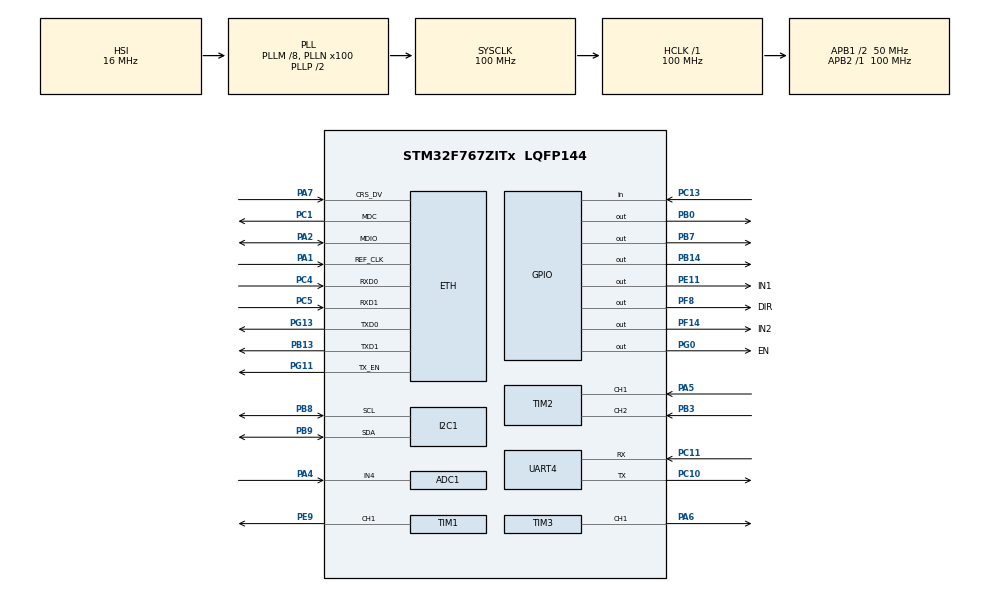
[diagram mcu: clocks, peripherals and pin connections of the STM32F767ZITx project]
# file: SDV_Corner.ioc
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ADC1.Channel-0\#ChannelRegularConversion=ADC_CHANNEL_4
ADC1.NbrOfConversionFlag=1
ADC1.Rank-0\#ChannelRegularConversion=1
ADC1.SamplingTime-0\#ChannelRegularConversion=ADC_SAMPLETIME_3CYCLES
ADC1.master=1
CORTEX_M7.CPU_DCache=Disabled
CORTEX_M7.CPU_ICache=Disabled
CORTEX_M7.MPU_Control=__NULL
CORTEX_M7.PREFETCH_ENABLE=0
CORTEX_M7.default_mode_Activation=0
ETH.MediaInterface=HAL_ETH_RMII_MODE
FREERTOS.Tasks01=COM,0,256,COM_init,Default,NULL,Dynamic,NULL,NULL;motor,2,256,motor_init,Default,NULL,Dynamic,NULL,NULL;steering,2,256,steering_init,Default,NULL,Dynamic,NULL,NULL;setPointTask,1,256,setPointTask_init,Default,NULL,Dynamic,NULL,NULL;GPIO,-1,128,GPIO_init,Default,NULL,Dynamic,NULL,NULL;TractionControl,2,256,TCS_init,Default,NULL,Dynamic,NULL,NULL;dataLogger,-2,128,dataLogger_init,Default,NULL,Dynamic,NULL,NULL
FREERTOS.configTOTAL_HEAP_SIZE=40000
FREERTOS.configUSE_NEWLIB_REENTRANT=1
I2C1.Timing=0x00C0EAFF
LWIP.BSP.number=1
LWIP.CMSIS_VERSION-Enabled=1
LWIP.DEFAULT_TCP_RECVMBOX_SIZE=64
LWIP.DEFAULT_UDP_RECVMBOX_SIZE=64
LWIP.GATEWAY_ADDRESS=000.000.000.000
LWIP.IP_ADDRESS=010.252.062.051
LWIP.LWIP_DHCP=0
LWIP.LWIP_SO_RCVTIMEO=1
LWIP.MEMP_NUM_NETBUF=16
LWIP.MEMP_NUM_PBUF=64
LWIP.MEM_SIZE=30*1024
LWIP.NETMASK_ADDRESS=255.255.255.000
LWIP.PBUF_POOL_BUFSIZE=1524
LWIP.PBUF_POOL_SIZE=64
LWIP.TCPIP_MBOX_SIZE=64
LWIP.Version=v2.1.2_Cube
LWIP0.BSP.STBoard=false
LWIP0.BSP.api=BSP_COMPONENT_DRIVER
LWIP0.BSP.component=LAN8742
LWIP0.BSP.instance=LAN8742
LWIP0.BSP.name=Driver_PHY
LWIP0.BSP.semaphore=S_LAN8742
LWIP0.BSP.solution=LAN8742
Mcu.Family=STM32F7
Mcu.Name=STM32F767ZITx
Mcu.Package=LQFP144
NVIC.ETH_IRQn=true\:5\:0\:false\:false\:true\:true\:true\:true\:true
NVIC.PriorityGroup=NVIC_PRIORITYGROUP_4
NVIC.TIM3_IRQn=true\:5\:0\:false\:false\:true\:true\:true\:true\:true
NVIC.TIM6_DAC_IRQn=true\:15\:0\:false\:false\:true\:false\:false\:true\:true
NVIC.TimeBase=TIM6_DAC_IRQn
NVIC.TimeBaseIP=TIM6
PA1.Mode=RMII
PA1.Signal=ETH_REF_CLK
PA2.Mode=RMII
PA2.Signal=ETH_MDIO
PA4.Signal=ADCx_IN4
PA5.Signal=S_TIM2_CH1_ETR
PA6.Signal=S_TIM3_CH1
PA7.Mode=RMII
PA7.Signal=ETH_CRS_DV
PB0.Signal=GPIO_Output
PB13.Mode=RMII
PB13.Signal=ETH_TXD1
PB14.Signal=GPIO_Output
PB3.Signal=S_TIM2_CH2
PB7.Signal=GPIO_Output
PB8.GPIO_Pu=GPIO_PULLUP
PB8.Mode=I2C
PB8.Signal=I2C1_SCL
PB9.GPIO_Pu=GPIO_PULLUP
PB9.Mode=I2C
PB9.Signal=I2C1_SDA
PC1.Mode=RMII
PC1.Signal=ETH_MDC
PC10.Mode=Asynchronous
PC10.Signal=UART4_TX
PC11.Mode=Asynchronous
PC11.Signal=UART4_RX
PC13.Signal=GPIO_Input
PC4.Mode=RMII
PC4.Signal=ETH_RXD0
PC5.Mode=RMII
PC5.Signal=ETH_RXD1
PE11.GPIO_Label=IN1
PE11.Signal=GPIO_Output
PE9.Signal=S_TIM1_CH1
PF14.GPIO_Label=IN2
PF14.Signal=GPIO_Output
PF8.GPIO_Label=DIR
PF8.Signal=GPIO_Output
PG0.GPIO_Label=EN
PG0.Signal=GPIO_Output
PG11.Mode=RMII
PG11.Signal=ETH_TX_EN
PG13.Mode=RMII
PG13.Signal=ETH_TXD0
PH0/OSC_IN.Mode=HSE-External-Oscillator
PH0/OSC_IN.Signal=RCC_OSC_IN
PH1/OSC_OUT.Mode=HSE-External-Oscillator
PH1/OSC_OUT.Signal=RCC_OSC_OUT
ProjectManager.HeapSize=0x200
ProjectManager.StackSize=0x400
ProjectManager.TargetToolchain=STM32CubeIDE
RCC.AHBFreq_Value=100000000
RCC.APB1CLKDivider=RCC_HCLK_DIV2
RCC.APB1Freq_Value=50000000
RCC.APB1TimFreq_Value=100000000
RCC.APB2Freq_Value=100000000
RCC.APB2TimFreq_Value=100000000
RCC.CortexFreq_Value=100000000
RCC.HCLKFreq_Value=100000000
RCC.HSE_VALUE=25000000
RCC.HSI_VALUE=16000000
RCC.LSE_VALUE=32768
RCC.PLLM=8
RCC.PLLN=100
RCC.SYSCLKFreq_VALUE=100000000
RCC.SYSCLKSource=RCC_SYSCLKSOURCE_PLLCLK
RCC.USBFreq_Value=100000000
RCC.VCOOutputFreq_Value=200000000
SH.ADCx_IN4.0=ADC1_IN4,IN4
SH.S_TIM1_CH1.0=TIM1_CH1,PWM Generation1 CH1
SH.S_TIM2_CH1_ETR.0=TIM2_CH1,Encoder_Interface
SH.S_TIM2_CH2.0=TIM2_CH2,Encoder_Interface
SH.S_TIM3_CH1.0=TIM3_CH1,PWM Generation1 CH1
TIM1.Channel-PWM\ Generation1\ CH1=TIM_CHANNEL_1
TIM1.Period=999
TIM1.Prescaler=99
TIM2.EncoderMode=TIM_ENCODERMODE_TI12
TIM3.AutoReloadPreload=TIM_AUTORELOAD_PRELOAD_ENABLE
TIM3.Channel-PWM\ Generation1\ CH1=TIM_CHANNEL_1
TIM3.Period=499
TIM3.Prescaler=99
TIM5.Prescaler=99
VP_FREERTOS_VS_CMSIS_V1.Mode=CMSIS_V1
VP_LWIP_VS_Enabled.Mode=Enabled
VP_SYS_VS_tim6.Mode=TIM6
VP_TIM3_VS_ClockSourceINT.Mode=Internal
VP_TIM5_VS_ClockSourceINT.Mode=Internal
board=custom

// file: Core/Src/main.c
/* USER CODE BEGIN Header */
/**
  ******************************************************************************
  * @file           : main.c
  * @brief          : Main program body
  ******************************************************************************
  * @attention
  *
  * Copyright (c) 2025 STMicroelectronics.
  * All rights reserved.
  *
  * This software is licensed under terms that can be found in the LICENSE file
  * in the root directory of this software component.
  * If no LICENSE file comes with this software, it is provided AS-IS.
  *
  ******************************************************************************
  */
/* USER CODE END Header */
#include "main.h"
#include "cmsis_os.h"
#include "lwip.h"

/* USER CODE BEGIN Includes */
#include "DCMotorControl.h"
#include "stepper_drv8825.h"
#include "ethernetif.h"
#include "udpclient.h"
#include "task.h"
#include "FreeRTOS.h"
#include "as5600_encoder.h"
#include "stm32f7xx_hal.h"
#include "functionMath.h"
#include "SystemControl.h"

#include "stdio.h"
#include "stdlib.h"
#include "math.h"
#include <string.h>

#include "lwip/netif.h"
#include "lwip/ip_addr.h"

/* USER CODE END Includes */

ADC_HandleTypeDef hadc1;

I2C_HandleTypeDef hi2c1;

TIM_HandleTypeDef htim1;
TIM_HandleTypeDef htim2;
TIM_HandleTypeDef htim3;
TIM_HandleTypeDef htim5;

UART_HandleTypeDef huart4;

osThreadId COMHandle;
osThreadId motorHandle;
osThreadId steeringHandle;
osThreadId setPointTaskHandle;
osThreadId GPIOHandle;
osThreadId TractionControlHandle;
osThreadId dataLoggerHandle;
/* USER CODE BEGIN PV */

//Ethernet
uint8_t dataTX = 0;

dataLogger logger;
MicroP2P P2P;
CornerToSimulink cts;
VCUToCorner_Latency vtc;
Latency_send lts;
CornerToSimulink_Latency ctsl;

//UART
char tx_buffer[30];
float timelog = 0;

//EEPROM

//MotorControl
float throttleReff = 0.0f;
float t2s_reff = 0.0f;
float tcs_output = 0.0f;
float VxSpd = 0.0f;
uint16_t seqFilter = 0;
uint16_t seqOutput = 0;

//float setPointSpd;

//StepperMotor
stepper_t stepper1;

//ADC
uint32_t adc_value = 0;
int32_t adcRPM_Reff = 0;
float adcDeg_Reff = 0;

/* USER CODE END PV */

void SystemClock_Config(void);
static void MX_GPIO_Init(void);
static void MX_I2C1_Init(void);
static void MX_TIM1_Init(void);
static void MX_TIM2_Init(void);
static void MX_TIM3_Init(void);
static void MX_ADC1_Init(void);
static void MX_UART4_Init(void);
static void MX_TIM5_Init(void);
void COM_init(void const * argument);
void motor_init(void const * argument);
void steering_init(void const * argument);
void setPointTask_init(void const * argument);
void GPIO_init(void const * argument);
void TCS_init(void const * argument);
void dataLogger_init(void const * argument);

/* USER CODE BEGIN 0 */
void MX_AppInit(void)
{
    stepper1.htim        = &htim3;
    stepper1.tim_channel = TIM_CHANNEL_1;

    stepper1.dir_port = DIR_GPIO_Port;
    stepper1.dir_pin  = DIR_Pin;

    stepper1.en_port  = EN_GPIO_Port;
    stepper1.en_pin   = EN_Pin;

    Stepper_Init(&stepper1);
}

uint32_t Read_ADC(void)
{
  HAL_ADC_Start(&hadc1);                                 // start ADC
  HAL_ADC_PollForConversion(&hadc1, HAL_MAX_DELAY);     // tunggu selesai
  uint32_t value = HAL_ADC_GetValue(&hadc1);             // ambil data
  HAL_ADC_Stop(&hadc1);                                  // stop ADC
  return value;
}

uint32_t micros()
{
    return __HAL_TIM_GET_COUNTER(&htim5);
}

void SeqLogger_Process()
{
	if(seqFilter != sequence)
	{
		sprintf(tx_buffer, "%d,%d\r\n", sequence, Latency);
		HAL_UART_Transmit(&huart4, (uint8_t*)tx_buffer, strlen(tx_buffer), HAL_MAX_DELAY);
	}
	seqFilter = sequence;
}

/* USER CODE END 0 */

int main(void)
{

  /* MCU Configuration--------------------------------------------------------*/

  /* Reset of all peripherals, Initializes the Flash interface and the Systick. */
  HAL_Init();

  /* Configure the system clock */
  SystemClock_Config();

  /* Initialize all configured peripherals */
  MX_GPIO_Init();
  MX_I2C1_Init();
  MX_TIM1_Init();
  MX_TIM2_Init();
  MX_TIM3_Init();
  MX_ADC1_Init();
  MX_UART4_Init();
  MX_TIM5_Init();
  /* USER CODE BEGIN 2 */

  //Ethernet
//  HIL_ETH_Init();
  HAL_GPIO_WritePin(GPIOB, GPIO_PIN_14, GPIO_PIN_SET);   // Merah ON
  HAL_GPIO_WritePin(GPIOB, GPIO_PIN_7, GPIO_PIN_RESET);  // Biru OFF

  //motor
  HAL_GPIO_WritePin(IN1_GPIO_Port, IN1_Pin, SET);
  HAL_GPIO_WritePin(IN2_GPIO_Port, IN2_Pin, RESET);

  HAL_TIM_PWM_Start(&htim1, TIM_CHANNEL_1);
  HAL_TIM_Encoder_Start(&htim2, TIM_CHANNEL_ALL);
  motorRun_init(&htim2);

  //StepperMotor
  MX_AppInit();
  AS5600_Encoder_Init(&hi2c1);

  /* USER CODE END 2 */

  /* Create the thread(s) */
  /* definition and creation of COM */
  osThreadDef(COM, COM_init, osPriorityNormal, 0, 256);
  COMHandle = osThreadCreate(osThread(COM), NULL);

  /* definition and creation of motor */
  osThreadDef(motor, motor_init, osPriorityHigh, 0, 256);
  motorHandle = osThreadCreate(osThread(motor), NULL);

  /* definition and creation of steering */
  osThreadDef(steering, steering_init, osPriorityHigh, 0, 256);
  steeringHandle = osThreadCreate(osThread(steering), NULL);

  /* definition and creation of setPointTask */
  osThreadDef(setPointTask, setPointTask_init, osPriorityAboveNormal, 0, 256);
  setPointTaskHandle = osThreadCreate(osThread(setPointTask), NULL);

  /* definition and creation of GPIO */
  osThreadDef(GPIO, GPIO_init, osPriorityBelowNormal, 0, 128);
  GPIOHandle = osThreadCreate(osThread(GPIO), NULL);

  /* definition and creation of TractionControl */
  osThreadDef(TractionControl, TCS_init, osPriorityHigh, 0, 256);
  TractionControlHandle = osThreadCreate(osThread(TractionControl), NULL);

  /* definition and creation of dataLogger */
  osThreadDef(dataLogger, dataLogger_init, osPriorityLow, 0, 128);
  dataLoggerHandle = osThreadCreate(osThread(dataLogger), NULL);

  /* Start scheduler */
  osKernelStart();

  /* We should never get here as control is now taken by the scheduler */

  /* Infinite loop */
  while (1)
  {

  }
}

void SystemClock_Config(void)
{
  RCC_OscInitTypeDef RCC_OscInitStruct = {0};
  RCC_ClkInitTypeDef RCC_ClkInitStruct = {0};

  /** Configure the main internal regulator output voltage
  */
  __HAL_RCC_PWR_CLK_ENABLE();
  __HAL_PWR_VOLTAGESCALING_CONFIG(PWR_REGULATOR_VOLTAGE_SCALE3);

  /** Initializes the RCC Oscillators according to the specified parameters
  * in the RCC_OscInitTypeDef structure.
  */
  RCC_OscInitStruct.OscillatorType = RCC_OSCILLATORTYPE_HSI;
  RCC_OscInitStruct.HSIState = RCC_HSI_ON;
  RCC_OscInitStruct.HSICalibrationValue = RCC_HSICALIBRATION_DEFAULT;
  RCC_OscInitStruct.PLL.PLLState = RCC_PLL_ON;
  RCC_OscInitStruct.PLL.PLLSource = RCC_PLLSOURCE_HSI;
  RCC_OscInitStruct.PLL.PLLM = 8;
  RCC_OscInitStruct.PLL.PLLN = 100;
  RCC_OscInitStruct.PLL.PLLP = RCC_PLLP_DIV2;
  RCC_OscInitStruct.PLL.PLLQ = 2;
  RCC_OscInitStruct.PLL.PLLR = 2;
  if (HAL_RCC_OscConfig(&RCC_OscInitStruct) != HAL_OK)
  {
    Error_Handler();
  }

  /** Activate the Over-Drive mode
  */
  if (HAL_PWREx_EnableOverDrive() != HAL_OK)
  {
    Error_Handler();
  }

  /** Initializes the CPU, AHB and APB buses clocks
  */
  RCC_ClkInitStruct.ClockType = RCC_CLOCKTYPE_HCLK|RCC_CLOCKTYPE_SYSCLK
                              |RCC_CLOCKTYPE_PCLK1|RCC_CLOCKTYPE_PCLK2;
  RCC_ClkInitStruct.SYSCLKSource = RCC_SYSCLKSOURCE_PLLCLK;
  RCC_ClkInitStruct.AHBCLKDivider = RCC_SYSCLK_DIV1;
  RCC_ClkInitStruct.APB1CLKDivider = RCC_HCLK_DIV2;
  RCC_ClkInitStruct.APB2CLKDivider = RCC_HCLK_DIV1;

  if (HAL_RCC_ClockConfig(&RCC_ClkInitStruct, FLASH_LATENCY_3) != HAL_OK)
  {
    Error_Handler();
  }
}

static void MX_ADC1_Init(void)
{

  ADC_ChannelConfTypeDef sConfig = {0};

  /** Configure the global features of the ADC (Clock, Resolution, Data Alignment and number of conversion)
  */
  hadc1.Instance = ADC1;
  hadc1.Init.ClockPrescaler = ADC_CLOCK_SYNC_PCLK_DIV4;
  hadc1.Init.Resolution = ADC_RESOLUTION_12B;
  hadc1.Init.ScanConvMode = ADC_SCAN_DISABLE;
  hadc1.Init.ContinuousConvMode = DISABLE;
  hadc1.Init.DiscontinuousConvMode = DISABLE;
  hadc1.Init.ExternalTrigConvEdge = ADC_EXTERNALTRIGCONVEDGE_NONE;
  hadc1.Init.ExternalTrigConv = ADC_SOFTWARE_START;
  hadc1.Init.DataAlign = ADC_DATAALIGN_RIGHT;
  hadc1.Init.NbrOfConversion = 1;
  hadc1.Init.DMAContinuousRequests = DISABLE;
  hadc1.Init.EOCSelection = ADC_EOC_SINGLE_CONV;
  if (HAL_ADC_Init(&hadc1) != HAL_OK)
  {
    Error_Handler();
  }

  /** Configure for the selected ADC regular channel its corresponding rank in the sequencer and its sample time.
  */
  sConfig.Channel = ADC_CHANNEL_4;
  sConfig.Rank = ADC_REGULAR_RANK_1;
  sConfig.SamplingTime = ADC_SAMPLETIME_3CYCLES;
  if (HAL_ADC_ConfigChannel(&hadc1, &sConfig) != HAL_OK)
  {
    Error_Handler();
  }

}

static void MX_I2C1_Init(void)
{

  hi2c1.Instance = I2C1;
  hi2c1.Init.Timing = 0x00C0EAFF;
  hi2c1.Init.OwnAddress1 = 0;
  hi2c1.Init.AddressingMode = I2C_ADDRESSINGMODE_7BIT;
  hi2c1.Init.DualAddressMode = I2C_DUALADDRESS_DISABLE;
  hi2c1.Init.OwnAddress2 = 0;
  hi2c1.Init.OwnAddress2Masks = I2C_OA2_NOMASK;
  hi2c1.Init.GeneralCallMode = I2C_GENERALCALL_DISABLE;
  hi2c1.Init.NoStretchMode = I2C_NOSTRETCH_DISABLE;
  if (HAL_I2C_Init(&hi2c1) != HAL_OK)
  {
    Error_Handler();
  }

  /** Configure Analogue filter
  */
  if (HAL_I2CEx_ConfigAnalogFilter(&hi2c1, I2C_ANALOGFILTER_ENABLE) != HAL_OK)
  {
    Error_Handler();
  }

  /** Configure Digital filter
  */
  if (HAL_I2CEx_ConfigDigitalFilter(&hi2c1, 0) != HAL_OK)
  {
    Error_Handler();
  }

}

static void MX_TIM1_Init(void)
{

  TIM_MasterConfigTypeDef sMasterConfig = {0};
  TIM_OC_InitTypeDef sConfigOC = {0};
  TIM_BreakDeadTimeConfigTypeDef sBreakDeadTimeConfig = {0};

  htim1.Instance = TIM1;
  htim1.Init.Prescaler = 99;
  htim1.Init.CounterMode = TIM_COUNTERMODE_UP;
  htim1.Init.Period = 999;
  htim1.Init.ClockDivision = TIM_CLOCKDIVISION_DIV1;
  htim1.Init.RepetitionCounter = 0;
  htim1.Init.AutoReloadPreload = TIM_AUTORELOAD_PRELOAD_DISABLE;
  if (HAL_TIM_PWM_Init(&htim1) != HAL_OK)
  {
    Error_Handler();
  }
  sMasterConfig.MasterOutputTrigger = TIM_TRGO_RESET;
  sMasterConfig.MasterOutputTrigger2 = TIM_TRGO2_RESET;
  sMasterConfig.MasterSlaveMode = TIM_MASTERSLAVEMODE_DISABLE;
  if (HAL_TIMEx_MasterConfigSynchronization(&htim1, &sMasterConfig) != HAL_OK)
  {
    Error_Handler();
  }
  sConfigOC.OCMode = TIM_OCMODE_PWM1;
  sConfigOC.Pulse = 0;
  sConfigOC.OCPolarity = TIM_OCPOLARITY_HIGH;
  sConfigOC.OCNPolarity = TIM_OCNPOLARITY_HIGH;
  sConfigOC.OCFastMode = TIM_OCFAST_DISABLE;
  sConfigOC.OCIdleState = TIM_OCIDLESTATE_RESET;
  sConfigOC.OCNIdleState = TIM_OCNIDLESTATE_RESET;
  if (HAL_TIM_PWM_ConfigChannel(&htim1, &sConfigOC, TIM_CHANNEL_1) != HAL_OK)
  {
    Error_Handler();
  }
  sBreakDeadTimeConfig.OffStateRunMode = TIM_OSSR_DISABLE;
  sBreakDeadTimeConfig.OffStateIDLEMode = TIM_OSSI_DISABLE;
  sBreakDeadTimeConfig.LockLevel = TIM_LOCKLEVEL_OFF;
  sBreakDeadTimeConfig.DeadTime = 0;
  sBreakDeadTimeConfig.BreakState = TIM_BREAK_DISABLE;
  sBreakDeadTimeConfig.BreakPolarity = TIM_BREAKPOLARITY_HIGH;
  sBreakDeadTimeConfig.BreakFilter = 0;
  sBreakDeadTimeConfig.Break2State = TIM_BREAK2_DISABLE;
  sBreakDeadTimeConfig.Break2Polarity = TIM_BREAK2POLARITY_HIGH;
  sBreakDeadTimeConfig.Break2Filter = 0;
  sBreakDeadTimeConfig.AutomaticOutput = TIM_AUTOMATICOUTPUT_DISABLE;
  if (HAL_TIMEx_ConfigBreakDeadTime(&htim1, &sBreakDeadTimeConfig) != HAL_OK)
  {
    Error_Handler();
  }
  HAL_TIM_MspPostInit(&htim1);

}

static void MX_TIM2_Init(void)
{

  TIM_Encoder_InitTypeDef sConfig = {0};
  TIM_MasterConfigTypeDef sMasterConfig = {0};

  htim2.Instance = TIM2;
  htim2.Init.Prescaler = 0;
  htim2.Init.CounterMode = TIM_COUNTERMODE_UP;
  htim2.Init.Period = 4294967295;
  htim2.Init.ClockDivision = TIM_CLOCKDIVISION_DIV1;
  htim2.Init.AutoReloadPreload = TIM_AUTORELOAD_PRELOAD_DISABLE;
  sConfig.EncoderMode = TIM_ENCODERMODE_TI12;
  sConfig.IC1Polarity = TIM_ICPOLARITY_RISING;
  sConfig.IC1Selection = TIM_ICSELECTION_DIRECTTI;
  sConfig.IC1Prescaler = TIM_ICPSC_DIV1;
  sConfig.IC1Filter = 0;
  sConfig.IC2Polarity = TIM_ICPOLARITY_RISING;
  sConfig.IC2Selection = TIM_ICSELECTION_DIRECTTI;
  sConfig.IC2Prescaler = TIM_ICPSC_DIV1;
  sConfig.IC2Filter = 0;
  if (HAL_TIM_Encoder_Init(&htim2, &sConfig) != HAL_OK)
  {
    Error_Handler();
  }
  sMasterConfig.MasterOutputTrigger = TIM_TRGO_RESET;
  sMasterConfig.MasterSlaveMode = TIM_MASTERSLAVEMODE_DISABLE;
  if (HAL_TIMEx_MasterConfigSynchronization(&htim2, &sMasterConfig) != HAL_OK)
  {
    Error_Handler();
  }

}

static void MX_TIM3_Init(void)
{

  TIM_ClockConfigTypeDef sClockSourceConfig = {0};
  TIM_MasterConfigTypeDef sMasterConfig = {0};
  TIM_OC_InitTypeDef sConfigOC = {0};

  /* USER CODE BEGIN TIM3_Init 1 */
  /*
   * ARR 199 = Step freq 5kHz
   * ARR 499 = Step freq 2kHz
   * ARR 999 = Step freq 1kHz
   * ARR 1999 = Step freq 500Hz
   *
   * */
  /* USER CODE END TIM3_Init 1 */
  htim3.Instance = TIM3;
  htim3.Init.Prescaler = 99;
  htim3.Init.CounterMode = TIM_COUNTERMODE_UP;
  htim3.Init.Period = 499;
  htim3.Init.ClockDivision = TIM_CLOCKDIVISION_DIV1;
  htim3.Init.AutoReloadPreload = TIM_AUTORELOAD_PRELOAD_ENABLE;
  if (HAL_TIM_Base_Init(&htim3) != HAL_OK)
  {
    Error_Handler();
  }
  sClockSourceConfig.ClockSource = TIM_CLOCKSOURCE_INTERNAL;
  if (HAL_TIM_ConfigClockSource(&htim3, &sClockSourceConfig) != HAL_OK)
  {
    Error_Handler();
  }
  if (HAL_TIM_PWM_Init(&htim3) != HAL_OK)
  {
    Error_Handler();
  }
  sMasterConfig.MasterOutputTrigger = TIM_TRGO_RESET;
  sMasterConfig.MasterSlaveMode = TIM_MASTERSLAVEMODE_DISABLE;
  if (HAL_TIMEx_MasterConfigSynchronization(&htim3, &sMasterConfig) != HAL_OK)
  {
    Error_Handler();
  }
  sConfigOC.OCMode = TIM_OCMODE_PWM1;
  sConfigOC.Pulse = 0;
  sConfigOC.OCPolarity = TIM_OCPOLARITY_HIGH;
  sConfigOC.OCFastMode = TIM_OCFAST_DISABLE;
  if (HAL_TIM_PWM_ConfigChannel(&htim3, &sConfigOC, TIM_CHANNEL_1) != HAL_OK)
  {
    Error_Handler();
  }
  HAL_TIM_MspPostInit(&htim3);

}

static void MX_TIM5_Init(void)
{

  TIM_ClockConfigTypeDef sClockSourceConfig = {0};
  TIM_MasterConfigTypeDef sMasterConfig = {0};

  htim5.Instance = TIM5;
  htim5.Init.Prescaler = 99;
  htim5.Init.CounterMode = TIM_COUNTERMODE_UP;
  htim5.Init.Period = 4294967295;
  htim5.Init.ClockDivision = TIM_CLOCKDIVISION_DIV1;
  htim5.Init.AutoReloadPreload = TIM_AUTORELOAD_PRELOAD_DISABLE;
  if (HAL_TIM_Base_Init(&htim5) != HAL_OK)
  {
    Error_Handler();
  }
  sClockSourceConfig.ClockSource = TIM_CLOCKSOURCE_INTERNAL;
  if (HAL_TIM_ConfigClockSource(&htim5, &sClockSourceConfig) != HAL_OK)
  {
    Error_Handler();
  }
  sMasterConfig.MasterOutputTrigger = TIM_TRGO_RESET;
  sMasterConfig.MasterSlaveMode = TIM_MASTERSLAVEMODE_DISABLE;
  if (HAL_TIMEx_MasterConfigSynchronization(&htim5, &sMasterConfig) != HAL_OK)
  {
    Error_Handler();
  }

}

static void MX_UART4_Init(void)
{

  huart4.Instance = UART4;
  huart4.Init.BaudRate = 115200;
  huart4.Init.WordLength = UART_WORDLENGTH_8B;
  huart4.Init.StopBits = UART_STOPBITS_1;
  huart4.Init.Parity = UART_PARITY_NONE;
  huart4.Init.Mode = UART_MODE_TX_RX;
  huart4.Init.HwFlowCtl = UART_HWCONTROL_NONE;
  huart4.Init.OverSampling = UART_OVERSAMPLING_16;
  huart4.Init.OneBitSampling = UART_ONE_BIT_SAMPLE_DISABLE;
  huart4.AdvancedInit.AdvFeatureInit = UART_ADVFEATURE_NO_INIT;
  if (HAL_UART_Init(&huart4) != HAL_OK)
  {
    Error_Handler();
  }

}

static void MX_GPIO_Init(void)
{
  GPIO_InitTypeDef GPIO_InitStruct = {0};

  /* GPIO Ports Clock Enable */
  __HAL_RCC_GPIOC_CLK_ENABLE();
  __HAL_RCC_GPIOF_CLK_ENABLE();
  __HAL_RCC_GPIOH_CLK_ENABLE();
  __HAL_RCC_GPIOA_CLK_ENABLE();
  __HAL_RCC_GPIOB_CLK_ENABLE();
  __HAL_RCC_GPIOG_CLK_ENABLE();
  __HAL_RCC_GPIOE_CLK_ENABLE();

  /*Configure GPIO pin Output Level */
  HAL_GPIO_WritePin(GPIOF, DIR_Pin|IN2_Pin, GPIO_PIN_RESET);

  /*Configure GPIO pin Output Level */
  HAL_GPIO_WritePin(GPIOB, GPIO_PIN_0|GPIO_PIN_14|GPIO_PIN_7, GPIO_PIN_RESET);

  /*Configure GPIO pin Output Level */
  HAL_GPIO_WritePin(EN_GPIO_Port, EN_Pin, GPIO_PIN_RESET);

  /*Configure GPIO pin Output Level */
  HAL_GPIO_WritePin(IN1_GPIO_Port, IN1_Pin, GPIO_PIN_RESET);

  /*Configure GPIO pin : PC13 */
  GPIO_InitStruct.Pin = GPIO_PIN_13;
  GPIO_InitStruct.Mode = GPIO_MODE_INPUT;
  GPIO_InitStruct.Pull = GPIO_NOPULL;
  HAL_GPIO_Init(GPIOC, &GPIO_InitStruct);

  /*Configure GPIO pins : DIR_Pin IN2_Pin */
  GPIO_InitStruct.Pin = DIR_Pin|IN2_Pin;
  GPIO_InitStruct.Mode = GPIO_MODE_OUTPUT_PP;
  GPIO_InitStruct.Pull = GPIO_NOPULL;
  GPIO_InitStruct.Speed = GPIO_SPEED_FREQ_LOW;
  HAL_GPIO_Init(GPIOF, &GPIO_InitStruct);

  /*Configure GPIO pins : PB0 PB14 PB7 */
  GPIO_InitStruct.Pin = GPIO_PIN_0|GPIO_PIN_14|GPIO_PIN_7;
  GPIO_InitStruct.Mode = GPIO_MODE_OUTPUT_PP;
  GPIO_InitStruct.Pull = GPIO_NOPULL;
  GPIO_InitStruct.Speed = GPIO_SPEED_FREQ_LOW;
  HAL_GPIO_Init(GPIOB, &GPIO_InitStruct);

  /*Configure GPIO pin : EN_Pin */
  GPIO_InitStruct.Pin = EN_Pin;
  GPIO_InitStruct.Mode = GPIO_MODE_OUTPUT_PP;
  GPIO_InitStruct.Pull = GPIO_NOPULL;
  GPIO_InitStruct.Speed = GPIO_SPEED_FREQ_LOW;
  HAL_GPIO_Init(EN_GPIO_Port, &GPIO_InitStruct);

  /*Configure GPIO pin : IN1_Pin */
  GPIO_InitStruct.Pin = IN1_Pin;
  GPIO_InitStruct.Mode = GPIO_MODE_OUTPUT_PP;
  GPIO_InitStruct.Pull = GPIO_NOPULL;
  GPIO_InitStruct.Speed = GPIO_SPEED_FREQ_LOW;
  HAL_GPIO_Init(IN1_GPIO_Port, &GPIO_InitStruct);

}

/* USER CODE BEGIN Header_COM_init */
/**
  * @brief  Function implementing the COM thread.
  * @param  argument: Not used
  * @retval None
  */
extern struct netif gnetif;

/* USER CODE END Header_COM_init */
void COM_init(void const * argument)
{
  /* init code for LWIP */
  MX_LWIP_Init();
  /* USER CODE BEGIN 5 */
  udpclient_init();
  ledCommand_init();

  // Wait for DHCP to obtain an address (if using DHCP)
  vTaskDelay(pdMS_TO_TICKS(2000));   // Adjust as needed

  // Get the IP address from the netif
  struct netif *netif = &gnetif;     // or use netif_default if defined
  ip_addr_t ip = netif->ip_addr;

  // Format as string
  char ip_str[16];
  sprintf(ip_str, "IP: %d.%d.%d.%d\r\n",
		  ip4_addr1(&ip), ip4_addr2(&ip),
		  ip4_addr3(&ip), ip4_addr4(&ip));

  // Send over UART4
  HAL_UART_Transmit(&huart4, (uint8_t*)ip_str, strlen(ip_str), HAL_MAX_DELAY);

  vtc.seq = 0;
  /* Infinite loop */
  for(;;)
  {
	//Ethernet
	cts.Header = CORNER_FRAME_HEADER;
	cts.id = CORNER_FRAME_ID;
	cts.Vx_Wheel = (speedSensor() + 120) * 100;
	cts.Steer_Wheel = (map(positionSensor(),-120,120,-40,40) + 40) * 100;
	cts.seq = (cts.seq + 1) & 0xFF;

	udpsend_hex(&cts, sizeof(CornerToSimulink));

	/*Time Delay*/
	osDelay(1);
  }
  /* USER CODE END 5 */
}

void motor_init(void const * argument)
{
  /* USER CODE BEGIN motor_init */
  /* Infinite loop */
  for(;;)
  {
//	motorRun(adcRPM_Reff, 0);
  // motorRun(tcs_output, 0);
  motorRunQt(motorQtControl ? motorQtReff : 0.0f);
//	motorRun(t2s_reff, 0);

	/*Time Delay*/
	osDelay(10);
  }
  /* USER CODE END motor_init */
}

void steering_init(void const * argument)
{
  /* USER CODE BEGIN steering_init */
  const TickType_t cycle = pdMS_TO_TICKS(2); // 500 Hz loop
  /* Infinite loop */
  for(;;)
  {
	  // Auto mode: Use setpoint from VCU data or ADC
	  // Qt mode: Use stepperQtAngle from UDP command
	  if (stepperQtControl)
	  {
		  stepperRunQt(stepperQtAngle);
	  }
	  else
	  {
		  Stepper_ControlUpdate(&stepper1);
	  }
	  vTaskDelay(cycle);
  }
  /* USER CODE END steering_init */
}

void setPointTask_init(void const * argument)
{
  /* USER CODE BEGIN setPointTask_init */
  /* Infinite loop */
  for(;;) {
#if defined(FRONT_WHEEL)
	  Stepper_SetSetpoint(&stepper1, data_Steer_Wheel, 0);   // front wheel
#else
	  Stepper_SetSetpoint(&stepper1, data_Steer_Wheel, data_Mzd);   // rear wheel
#endif
//	  Stepper_SetSetpoint(&stepper1, adcDeg_Reff, 0);
	  osDelay(1);
  }
  /* USER CODE END setPointTask_init */
}

void GPIO_init(void const * argument)
{
  /* USER CODE BEGIN GPIO_init */
  /* Infinite loop */
  for(;;)
  {
	//ADC
	adc_value = Read_ADC();
	adcRPM_Reff = map(adc_value, 0, 4095, -120, 120);
	adcDeg_Reff = map(adc_value, 0, 4095, -40, 40);

	//Delay
	osDelay(10);
  }
  /* USER CODE END GPIO_init */
}

void TCS_init(void const * argument)
{
  /* USER CODE BEGIN TCS_init */
  /* Infinite loop */
  for(;;)
  {
	  //TCS
//	  VxSpd = vehicleSpdControl(data_Vx_Thrl, data_Vx, 0);
//	  t2s_reff = TorqueToSpd(VxSpd, data_trq);
	  t2s_reff = TorqueToSpd(data_Vx_Thrl, data_trq);
	  tcs_output = TractionControlSystem(t2s_reff, data_Vx, data_Vx_Wheel);

	  //Delay
	  osDelay(1);
  }
  /* USER CODE END TCS_init */
}

void dataLogger_init(void const * argument)
{
  /* USER CODE BEGIN dataLogger_init */
  /* Infinite loop */
  for(;;)
  {

	  //Latency check
//	  if(vtc.seq == sequence)
//	  {
//		  sprintf(tx_buffer, "%d\r\n", Latency); //transmit
//		  HAL_UART_Transmit(&huart4, (uint8_t*)tx_buffer, strlen(tx_buffer), HAL_MAX_DELAY);
//	  }

//	  sprintf(tx_buffer, "%d\r\n", Latency); //transmit
//	  HAL_UART_Transmit(&huart4, (uint8_t*)tx_buffer, strlen(tx_buffer), HAL_MAX_DELAY);

//	  sprintf(tx_buffer, "%d\r\n", sequence); //receive
//	  HAL_UART_Transmit(&huart4, (uint8_t*)tx_buffer, strlen(tx_buffer), HAL_MAX_DELAY);

	  osDelay(1);
  }
  /* USER CODE END dataLogger_init */
}

void HAL_TIM_PeriodElapsedCallback(TIM_HandleTypeDef *htim)
{
  if (htim->Instance == TIM6)
  {
    HAL_IncTick();
  }
}

void Error_Handler(void)
{
  __disable_irq();
  while (1)
  {
  }
}
